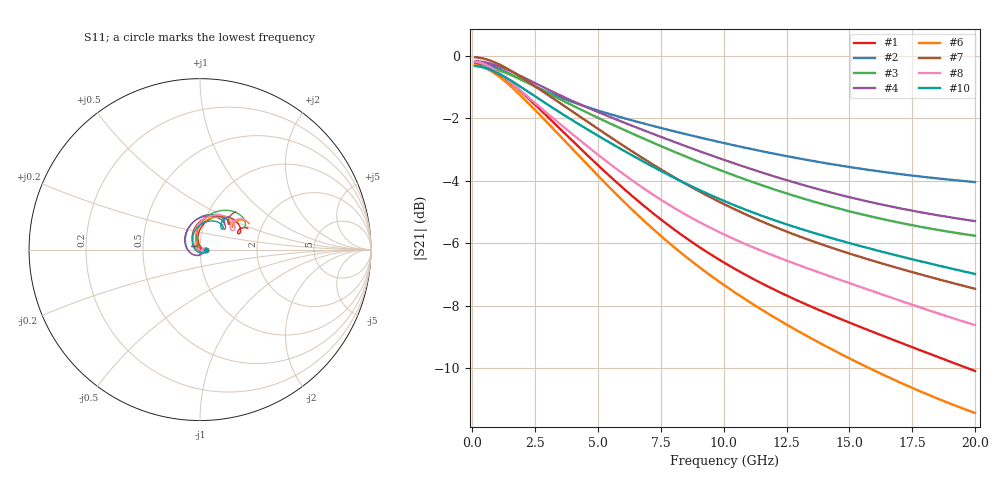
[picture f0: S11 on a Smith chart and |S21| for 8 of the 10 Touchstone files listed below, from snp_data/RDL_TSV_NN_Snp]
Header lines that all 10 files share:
! Created with skrf 1.9.0 (http://scikit-rf.org).
# GHz S RI R 50.0
!freq ReS11 ImS11 ReS21 ImS21 ReS12 ImS12 ReS22 ImS22
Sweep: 100 MHz to 20 GHz
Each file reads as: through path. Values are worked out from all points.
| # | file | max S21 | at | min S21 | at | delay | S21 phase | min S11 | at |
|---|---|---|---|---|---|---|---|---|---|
| 1 | dut233.s2p | -0.27 dB | 100 MHz | -10.1 dB | 20 GHz | 29.6 ps | -133 deg at 10.1 GHz | -37.2 dB | 900 MHz |
| 2 | dut235.s2p | -0.21 dB | 100 MHz | -4.0 dB | 20 GHz | 16.2 ps | -69 deg at 10.1 GHz | -32.5 dB | 100 MHz |
| 3 | dut236.s2p | -0.31 dB | 100 MHz | -5.8 dB | 20 GHz | 18 ps | -81 deg at 10.1 GHz | -41.2 dB | 1.5 GHz |
| 4 | dut241.s2p | -0.17 dB | 100 MHz | -5.3 dB | 20 GHz | 19.2 ps | -84 deg at 10.1 GHz | -34.4 dB | 100 MHz |
| 5 | dut253.s2p | -0.14 dB | 100 MHz | -9.3 dB | 20 GHz | 32.5 ps | -142 deg at 10.1 GHz | -41.4 dB | 600 MHz |
| 6 | dut266.s2p | -0.30 dB | 100 MHz | -11.4 dB | 20 GHz | 34.9 ps | -156 deg at 10.1 GHz | -52.5 dB | 1 GHz |
| 7 | dut277.s2p | -0.05 dB | 100 MHz | -7.5 dB | 20 GHz | 28.3 ps | -123 deg at 10.1 GHz | -50.5 dB | 500 MHz |
| 8 | dut278.s2p | -0.18 dB | 100 MHz | -8.6 dB | 20 GHz | 32.7 ps | -140 deg at 10.1 GHz | -47.5 dB | 800 MHz |
| 9 | dut285.s2p | -0.06 dB | 100 MHz | -4.2 dB | 20 GHz | 16.8 ps | -72 deg at 10.1 GHz | -40.7 dB | 100 MHz |
| 10 | dut288.s2p | -0.33 dB | 100 MHz | -7.0 dB | 20 GHz | 29.5 ps | -125 deg at 10.1 GHz | -34.7 dB | 1.4 GHz |
